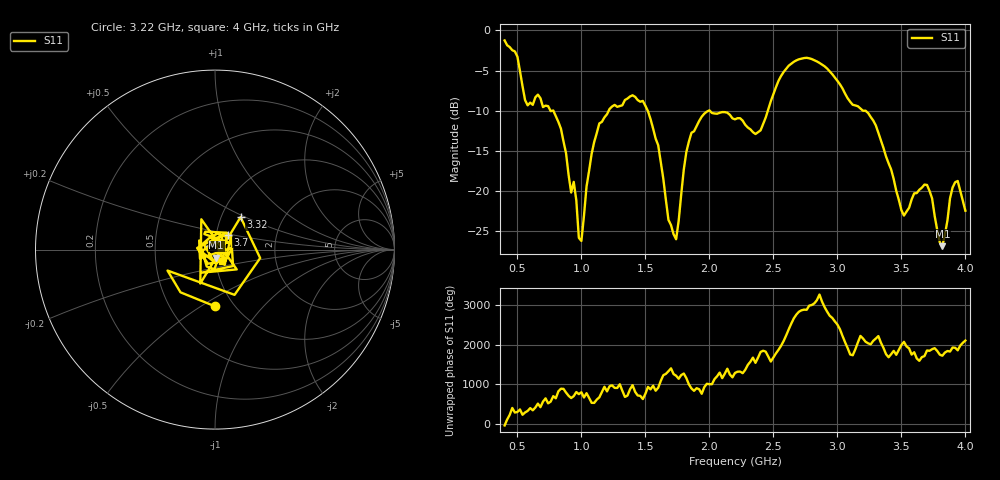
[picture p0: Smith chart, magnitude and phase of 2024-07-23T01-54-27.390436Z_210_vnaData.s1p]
!Created with skrf (http://scikit-rf.org).
# Hz S RI R 50.0
!freq ReS11 ImS11
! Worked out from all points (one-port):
!   181 points, 400 MHz to 4 GHz, reference 50 ohm
!   lowest |S11| = -26.9 dB at 3.82 GHz (marker M1), VSWR 1.09, Z = 50.5 - j4.53 ohm
!   |S11| at or under -10 dB: 1.518 GHz to 1.995 GHz (476.9 MHz wide, 27.1 % of centre); 2.002 GHz to 2.457 GHz (454.1 MHz wide, 20.4 % of centre); 3.2 GHz to end of sweep (the widest 3 of 5)
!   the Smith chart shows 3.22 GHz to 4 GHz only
!   S11 on the Smith chart (normalised r, x): 3.22 GHz: 0.82, -0.58; 3.32 GHz: 1.23, +0.47; 3.7 GHz: 1.13, +0.19; 4 GHz: 1.07, -0.14
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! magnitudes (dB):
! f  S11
! 400 MHz  -1.3
! 500 MHz  -3.3
! 580 MHz  -9.3
! 660 MHz  -8.0
! 860 MHz  -13.8
! 1 GHz  -26.2
! 1.04 GHz  -19.5
! 1.14 GHz  -11.6
! 1.3 GHz  -9.4
! 1.5 GHz  -9.4
! 1.6 GHz  -14.3
! 1.68 GHz  -23.6
! 1.74 GHz  -26.0
! 1.76 GHz  -23.7
! 1.86 GHz  -12.7
! 2.2 GHz  -11.1
! 2.4 GHz  -12.4
! 2.66 GHz  -3.9
! 2.9 GHz  -4.5
! 3.1 GHz  -8.9
! 3.22 GHz  -10.0
! 3.32 GHz  -12.7
! 3.5 GHz  -22.4
! 3.56 GHz  -22.1
! 3.7 GHz  -19.2
! 3.82 GHz  -26.9
! 3.92 GHz  -18.9
! 4 GHz  -22.5
